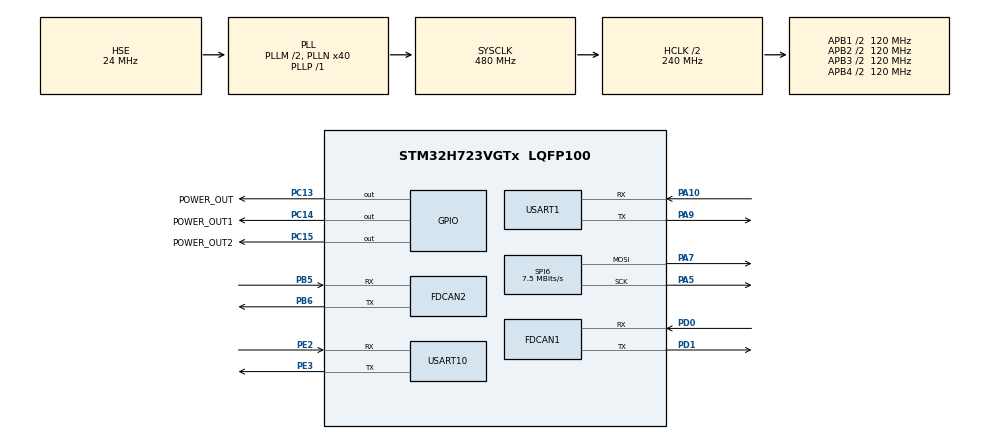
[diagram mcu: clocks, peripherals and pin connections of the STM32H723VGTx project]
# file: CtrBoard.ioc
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CORTEX_M7.CPU_DCache=Enabled
CORTEX_M7.CPU_ICache=Enabled
FDCAN1.AutoRetransmission=ENABLE
FDCAN1.CalculateBaudRateNominal=1000000
FDCAN1.CalculateTimeBitNominal=1000
FDCAN1.CalculateTimeQuantumNominal=100.0
FDCAN1.DataPrescaler=2
FDCAN1.DataSyncJumpWidth=4
FDCAN1.DataTimeSeg1=5
FDCAN1.DataTimeSeg2=4
FDCAN1.ExtFiltersNbr=4
FDCAN1.FrameFormat=FDCAN_FRAME_FD_BRS
FDCAN1.NominalPrescaler=2
FDCAN1.NominalSyncJumpWidth=4
FDCAN1.NominalTimeSeg1=5
FDCAN1.NominalTimeSeg2=4
FDCAN1.ProtocolException=ENABLE
FDCAN1.RxBuffersNbr=2
FDCAN1.RxFifo0ElmtsNbr=3
FDCAN1.RxFifo1ElmtsNbr=3
FDCAN1.StdFiltersNbr=4
FDCAN1.TxBuffersNbr=8
FDCAN1.TxEventsNbr=16
FDCAN1.TxFifoQueueElmtsNbr=8
FDCAN2.AutoRetransmission=ENABLE
FDCAN2.CalculateBaudRateNominal=1000000
FDCAN2.CalculateTimeBitNominal=1000
FDCAN2.CalculateTimeQuantumNominal=100.0
FDCAN2.DataPrescaler=2
FDCAN2.DataSyncJumpWidth=4
FDCAN2.DataTimeSeg1=5
FDCAN2.DataTimeSeg2=4
FDCAN2.ExtFiltersNbr=4
FDCAN2.FrameFormat=FDCAN_FRAME_CLASSIC
FDCAN2.MessageRAMOffset=0
FDCAN2.NominalPrescaler=2
FDCAN2.NominalSyncJumpWidth=4
FDCAN2.NominalTimeSeg1=5
FDCAN2.NominalTimeSeg2=4
FDCAN2.ProtocolException=ENABLE
FDCAN2.RxBuffersNbr=2
FDCAN2.RxFifo0ElmtsNbr=3
FDCAN2.RxFifo1ElmtsNbr=8
FDCAN2.StdFiltersNbr=4
FDCAN2.TxBuffersNbr=8
FDCAN2.TxEventsNbr=16
FDCAN2.TxFifoQueueElmtsNbr=8
Mcu.Family=STM32H7
Mcu.Name=STM32H723VGTx
Mcu.Package=LQFP100
NVIC.FDCAN1_IT0_IRQn=true\:0\:0\:false\:false\:true\:true\:true\:true
NVIC.FDCAN1_IT1_IRQn=true\:0\:0\:false\:false\:true\:true\:true\:true
NVIC.FDCAN2_IT0_IRQn=true\:0\:0\:false\:false\:true\:true\:true\:true
NVIC.FDCAN2_IT1_IRQn=true\:0\:0\:false\:false\:true\:true\:true\:true
NVIC.PriorityGroup=NVIC_PRIORITYGROUP_4
NVIC.TIM3_IRQn=true\:0\:0\:false\:false\:true\:true\:true\:true
NVIC.TIM4_IRQn=true\:0\:0\:false\:false\:true\:true\:true\:true
PA10.Mode=Asynchronous
PA10.Signal=USART1_RX
PA13(JTMS/SWDIO).Mode=Serial_Wire
PA13(JTMS/SWDIO).Signal=DEBUG_JTMS-SWDIO
PA14(JTCK/SWCLK).Mode=Serial_Wire
PA14(JTCK/SWCLK).Signal=DEBUG_JTCK-SWCLK
PA5.Mode=TX_Only_Simplex_Unidirect_Master
PA5.Signal=SPI6_SCK
PA7.Mode=TX_Only_Simplex_Unidirect_Master
PA7.Signal=SPI6_MOSI
PA9.Mode=Asynchronous
PA9.Signal=USART1_TX
PB5.Mode=FDCAN_Activate
PB5.Signal=FDCAN2_RX
PB6.Mode=FDCAN_Activate
PB6.Signal=FDCAN2_TX
PC13.GPIO_Label=POWER_OUT
PC13.PinState=GPIO_PIN_SET
PC13.Signal=GPIO_Output
PC14-OSC32_IN.GPIO_Label=POWER_OUT1
PC14-OSC32_IN.PinState=GPIO_PIN_SET
PC14-OSC32_IN.Signal=GPIO_Output
PC15-OSC32_OUT.GPIO_Label=POWER_OUT2
PC15-OSC32_OUT.PinState=GPIO_PIN_SET
PC15-OSC32_OUT.Signal=GPIO_Output
PD0.Mode=FDCAN_Activate
PD0.Signal=FDCAN1_RX
PD1.Mode=FDCAN_Activate
PD1.Signal=FDCAN1_TX
PE2.Mode=Asynchronous
PE2.Signal=USART10_RX
PE3.Mode=Asynchronous
PE3.Signal=USART10_TX
PH0-OSC_IN.Mode=HSE-External-Oscillator
PH0-OSC_IN.Signal=RCC_OSC_IN
PH1-OSC_OUT.Mode=HSE-External-Oscillator
PH1-OSC_OUT.Signal=RCC_OSC_OUT
ProjectManager.HeapSize=0x2000
ProjectManager.StackSize=0x400
ProjectManager.TargetToolchain=MDK-ARM V5.32
RCC.ADCFreq_Value=48375000
RCC.APB1Freq_Value=120000000
RCC.APB2Freq_Value=120000000
RCC.APB3Freq_Value=120000000
RCC.APB4Freq_Value=120000000
RCC.CortexFreq_Value=480000000
RCC.D1PPRE=RCC_APB3_DIV2
RCC.D2PPRE1=RCC_APB1_DIV2
RCC.D2PPRE2=RCC_APB2_DIV2
RCC.D3PPRE=RCC_APB4_DIV2
RCC.DIVM1=2
RCC.DIVN1=40
RCC.DIVP1=1
RCC.DIVQ1=24
RCC.HCLKFreq_Value=240000000
RCC.HPRE=RCC_HCLK_DIV2
RCC.HSE_VALUE=24000000
RCC.PLLFRACN=0
RCC.PLLSourceVirtual=RCC_PLLSOURCE_HSE
RCC.RCC_MCO1Source=RCC_MCO1SOURCE_HSE
RCC.SYSCLKFreq_VALUE=480000000
RCC.SYSCLKSource=RCC_SYSCLKSOURCE_PLLCLK
RCC.USBCLockSelection=RCC_USBCLKSOURCE_HSI48
RCC.USBFreq_Value=48000000
SPI6.BaudRatePrescaler=SPI_BAUDRATEPRESCALER_16
SPI6.CLKPhase=SPI_PHASE_2EDGE
SPI6.CalculateBaudRate=7.5 MBits/s
SPI6.DataSize=SPI_DATASIZE_8BIT
SPI6.Direction=SPI_DIRECTION_2LINES_TXONLY
SPI6.Mode=SPI_MODE_MASTER
SPI6.VirtualType=VM_MASTER
TIM3.Period=1000-1
TIM3.Prescaler=240-1
TIM4.Period=1000-1
TIM4.Prescaler=240-1
USART1.VirtualMode-Asynchronous=VM_ASYNC
USART10.VirtualMode=VM_ASYNC
VP_TIM3_VS_ClockSourceINT.Mode=Internal
VP_TIM4_VS_ClockSourceINT.Mode=Internal
board=custom

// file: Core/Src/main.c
/* USER CODE BEGIN Header */
/**
 ******************************************************************************
 * @file           : main.c
 * @brief          : Main program body
 ******************************************************************************
 * @attention
 *
 * Copyright (c) 2024 STMicroelectronics.
 * All rights reserved.
 *
 * This software is licensed under terms that can be found in the LICENSE file
 * in the root directory of this software component.
 * If no LICENSE file comes with this software, it is provided AS-IS.
 *
 ******************************************************************************
 */
/* USER CODE END Header */
#include "main.h"
#include "fdcan.h"
#include "spi.h"
#include "tim.h"
#include "usart.h"
#include "gpio.h"

/* USER CODE BEGIN Includes */
#include "co_app.h"
#include "co_bsp.h"
#include "301/CO_SDOclient.h"
#include "OD.h"
#include "fdcan.h"
#include "tim.h"
#include "delay.h"
#include "stdio.h"
#include "dm4310_drv.h"
#include "ws2812.h"
#include "six_force.h"
/* USER CODE END Includes */

void SystemClock_Config(void);

/* USER CODE BEGIN 0 */
uint8_t r = 1;
uint8_t g = 20;
uint8_t b = 1;
/* USER CODE END 0 */

int main(void)
{
  /* USER CODE BEGIN 1 */
  uint32_t time, time1;
  /* USER CODE END 1 */
/* Enable the CPU Cache */

  /* Enable I-Cache---------------------------------------------------------*/
  SCB_EnableICache();

  /* Enable D-Cache---------------------------------------------------------*/
  SCB_EnableDCache();

  /* MCU Configuration--------------------------------------------------------*/

  /* Reset of all peripherals, Initializes the Flash interface and the Systick. */
  HAL_Init();

  /* Configure the system clock */
  SystemClock_Config();

  /* Initialize all configured peripherals */
  MX_GPIO_Init();
  MX_FDCAN1_Init();
  MX_TIM3_Init();
  MX_USART1_UART_Init();
  MX_TIM4_Init();
  MX_SPI6_Init();
  MX_USART10_UART_Init();
  MX_FDCAN2_Init();
  /* USER CODE BEGIN 2 */
  canopen_init();
  delay_ms(200);
  power(1);
  HAL_Delay(1000);
  six_force_bsp_init();
  HAL_Delay(5000);
  /* USER CODE END 2 */

  /* Infinite loop */
  /* USER CODE BEGIN WHILE */
  uint32_t six_force_read_cnt;
  while (1)
  {
    canopen_app_process();
//    if (six_force_read_cnt++ > 20)
//    {
//      if (six_force_read())
//      {
//      }
//      six_force_read_cnt = 0;
//    }
    // WS2812_Ctrl(r, g, b);
    /* USER CODE END WHILE */

  }
}

void SystemClock_Config(void)
{
  RCC_OscInitTypeDef RCC_OscInitStruct = {0};
  RCC_ClkInitTypeDef RCC_ClkInitStruct = {0};

  /** Supply configuration update enable
  */
  HAL_PWREx_ConfigSupply(PWR_LDO_SUPPLY);

  /** Configure the main internal regulator output voltage
  */
  __HAL_PWR_VOLTAGESCALING_CONFIG(PWR_REGULATOR_VOLTAGE_SCALE0);

  while(!__HAL_PWR_GET_FLAG(PWR_FLAG_VOSRDY)) {}

  /** Initializes the RCC Oscillators according to the specified parameters
  * in the RCC_OscInitTypeDef structure.
  */
  RCC_OscInitStruct.OscillatorType = RCC_OSCILLATORTYPE_HSE;
  RCC_OscInitStruct.HSEState = RCC_HSE_ON;
  RCC_OscInitStruct.PLL.PLLState = RCC_PLL_ON;
  RCC_OscInitStruct.PLL.PLLSource = RCC_PLLSOURCE_HSE;
  RCC_OscInitStruct.PLL.PLLM = 2;
  RCC_OscInitStruct.PLL.PLLN = 40;
  RCC_OscInitStruct.PLL.PLLP = 1;
  RCC_OscInitStruct.PLL.PLLQ = 24;
  RCC_OscInitStruct.PLL.PLLR = 2;
  RCC_OscInitStruct.PLL.PLLRGE = RCC_PLL1VCIRANGE_3;
  RCC_OscInitStruct.PLL.PLLVCOSEL = RCC_PLL1VCOWIDE;
  RCC_OscInitStruct.PLL.PLLFRACN = 0;
  if (HAL_RCC_OscConfig(&RCC_OscInitStruct) != HAL_OK)
  {
    Error_Handler();
  }

  /** Initializes the CPU, AHB and APB buses clocks
  */
  RCC_ClkInitStruct.ClockType = RCC_CLOCKTYPE_HCLK|RCC_CLOCKTYPE_SYSCLK
                              |RCC_CLOCKTYPE_PCLK1|RCC_CLOCKTYPE_PCLK2
                              |RCC_CLOCKTYPE_D3PCLK1|RCC_CLOCKTYPE_D1PCLK1;
  RCC_ClkInitStruct.SYSCLKSource = RCC_SYSCLKSOURCE_PLLCLK;
  RCC_ClkInitStruct.SYSCLKDivider = RCC_SYSCLK_DIV1;
  RCC_ClkInitStruct.AHBCLKDivider = RCC_HCLK_DIV2;
  RCC_ClkInitStruct.APB3CLKDivider = RCC_APB3_DIV2;
  RCC_ClkInitStruct.APB1CLKDivider = RCC_APB1_DIV2;
  RCC_ClkInitStruct.APB2CLKDivider = RCC_APB2_DIV2;
  RCC_ClkInitStruct.APB4CLKDivider = RCC_APB4_DIV2;

  if (HAL_RCC_ClockConfig(&RCC_ClkInitStruct, FLASH_LATENCY_3) != HAL_OK)
  {
    Error_Handler();
  }
}

void Error_Handler(void)
{
  __disable_irq();
  while (1)
  {
  }
}
